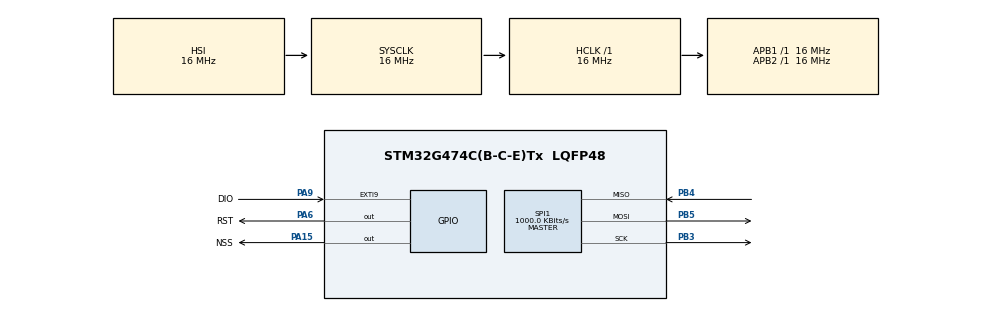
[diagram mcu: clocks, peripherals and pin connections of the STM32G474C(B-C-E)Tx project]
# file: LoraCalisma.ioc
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Mcu.Family=STM32G4
Mcu.Name=STM32G474C(B-C-E)Tx
Mcu.Package=LQFP48
NVIC.PriorityGroup=NVIC_PRIORITYGROUP_4
PA13.Mode=Serial_Wire
PA13.Signal=SYS_JTMS-SWDIO
PA14.Mode=Serial_Wire
PA14.Signal=SYS_JTCK-SWCLK
PA15.GPIO_Label=NSS
PA15.PinState=GPIO_PIN_SET
PA15.Signal=GPIO_Output
PA6.GPIO_Label=RST
PA6.PinState=GPIO_PIN_SET
PA6.Signal=GPIO_Output
PA9.GPIO_Label=DIO
PA9.Signal=GPXTI9
PB3.Mode=Full_Duplex_Master
PB3.Signal=SPI1_SCK
PB4.Mode=Full_Duplex_Master
PB4.Signal=SPI1_MISO
PB5.Mode=Full_Duplex_Master
PB5.Signal=SPI1_MOSI
PF0-OSC_IN.Mode=HSE-External-Oscillator
PF0-OSC_IN.Signal=RCC_OSC_IN
PF1-OSC_OUT.Mode=HSE-External-Oscillator
PF1-OSC_OUT.Signal=RCC_OSC_OUT
ProjectManager.HeapSize=0x200
ProjectManager.StackSize=0x400
ProjectManager.TargetToolchain=STM32CubeIDE
RCC.AHBFreq_Value=16000000
RCC.APB1Freq_Value=16000000
RCC.APB1TimFreq_Value=16000000
RCC.APB2Freq_Value=16000000
RCC.APB2TimFreq_Value=16000000
RCC.CortexFreq_Value=16000000
RCC.EXTERNAL_CLOCK_VALUE=12288000
RCC.HCLKFreq_Value=16000000
RCC.HSE_VALUE=8000000
RCC.HSI48_VALUE=48000000
RCC.HSI_VALUE=16000000
RCC.LSE_VALUE=32768
RCC.SYSCLKFreq_VALUE=16000000
RCC.USBFreq_Value=64000000
RCC.VCOOutputFreq_Value=128000000
SPI1.BaudRatePrescaler=SPI_BAUDRATEPRESCALER_16
SPI1.CalculateBaudRate=1000.0 KBits/s
SPI1.Direction=SPI_DIRECTION_2LINES
SPI1.Mode=SPI_MODE_MASTER
SPI1.VirtualType=VM_MASTER
VP_SYS_VS_DBSignals.Mode=DisableDeadBatterySignals
board=custom

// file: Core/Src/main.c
/* USER CODE BEGIN Header */
/**
  ******************************************************************************
  * @file           : main.c
  * @brief          : Main program body
  ******************************************************************************
  * @attention
  *
  * Copyright (c) 2025 STMicroelectronics.
  * All rights reserved.
  *
  * This software is licensed under terms that can be found in the LICENSE file
  * in the root directory of this software component.
  * If no LICENSE file comes with this software, it is provided AS-IS.
  *
  ******************************************************************************
  */
/* USER CODE END Header */
#include "main.h"
#include "spi.h"
#include "gpio.h"

/* USER CODE BEGIN Includes */

#include "LoRa.h"

/* USER CODE END Includes */

/* USER CODE BEGIN PV */
 LoRa myLoRa;
 uint16_t lora_stat=0;
 uint16_t RxBuffer[128];
 uint16_t Bxbuffer[128];

/* USER CODE END PV */

void SystemClock_Config(void);

int main(void)
{

  /* MCU Configuration--------------------------------------------------------*/

  /* Reset of all peripherals, Initializes the Flash interface and the Systick. */
  HAL_Init();

  /* Configure the system clock */
  SystemClock_Config();

  /* Initialize all configured peripherals */
  MX_GPIO_Init();
  MX_SPI1_Init();
  /* USER CODE BEGIN 2 */
  myLoRa = newLoRa();

  myLoRa.CS_port         = NSS_GPIO_Port;
  myLoRa.CS_pin          = NSS_Pin;
  myLoRa.reset_port      = RST_GPIO_Port;
  myLoRa.reset_pin       = RST_Pin;
  myLoRa.DIO0_port       = DIO_GPIO_Port;
  myLoRa.DIO0_pin        = DIO_Pin;
  myLoRa.hSPIx           = &hspi1;

  myLoRa.frequency             = 433.633;             // default = 433 MHz
  myLoRa.spredingFactor        = SF_7;            // default = SF_7
  myLoRa.bandWidth             = BW_500KHz;       // default = BW_125KHz
  myLoRa.crcRate               = CR_4_5;          // default = CR_4_5
  myLoRa.power                 = POWER_20db;      // default = 20db
  myLoRa.overCurrentProtection = 250;             // default = 100 mA
  myLoRa.preamble              = 8;              // default = 8;

if(LoRa_init(&myLoRa)==LORA_OK){
	lora_stat = 1;

}

LoRa_startReceiving(&myLoRa);
uint16_t txbuffer[3];
txbuffer[0]=45;
txbuffer[1]=0x12;
txbuffer[2]='G';

HAL_Delay(1000);

  /* USER CODE END 2 */

  /* Infinite loop */
  while (1)
  {

    /* USER CODE BEGIN 3 */

//	  LoRa_transmit(&myLoRa, txbuffer,3, 500);
	  LoRa_receive(&myLoRa, Bxbuffer, sizeof(Bxbuffer));
	  HAL_Delay(100);

  }
  /* USER CODE END 3 */
}

void SystemClock_Config(void)
{
  RCC_OscInitTypeDef RCC_OscInitStruct = {0};
  RCC_ClkInitTypeDef RCC_ClkInitStruct = {0};

  /** Configure the main internal regulator output voltage
  */
  HAL_PWREx_ControlVoltageScaling(PWR_REGULATOR_VOLTAGE_SCALE1);

  /** Initializes the RCC Oscillators according to the specified parameters
  * in the RCC_OscInitTypeDef structure.
  */
  RCC_OscInitStruct.OscillatorType = RCC_OSCILLATORTYPE_HSI;
  RCC_OscInitStruct.HSIState = RCC_HSI_ON;
  RCC_OscInitStruct.HSICalibrationValue = RCC_HSICALIBRATION_DEFAULT;
  RCC_OscInitStruct.PLL.PLLState = RCC_PLL_NONE;
  if (HAL_RCC_OscConfig(&RCC_OscInitStruct) != HAL_OK)
  {
    Error_Handler();
  }

  /** Initializes the CPU, AHB and APB buses clocks
  */
  RCC_ClkInitStruct.ClockType = RCC_CLOCKTYPE_HCLK|RCC_CLOCKTYPE_SYSCLK
                              |RCC_CLOCKTYPE_PCLK1|RCC_CLOCKTYPE_PCLK2;
  RCC_ClkInitStruct.SYSCLKSource = RCC_SYSCLKSOURCE_HSI;
  RCC_ClkInitStruct.AHBCLKDivider = RCC_SYSCLK_DIV1;
  RCC_ClkInitStruct.APB1CLKDivider = RCC_HCLK_DIV1;
  RCC_ClkInitStruct.APB2CLKDivider = RCC_HCLK_DIV1;

  if (HAL_RCC_ClockConfig(&RCC_ClkInitStruct, FLASH_LATENCY_0) != HAL_OK)
  {
    Error_Handler();
  }
}

/* USER CODE BEGIN 4 */

void HAL_GPIO_EXTI_Callback(uint16_t GPIO_Pin)
{

	if (GPIO_Pin==DIO_Pin){

		LoRa_receive(&myLoRa, RxBuffer, 128);
	}

}

/* USER CODE END 4 */

void Error_Handler(void)
{
  __disable_irq();
  while (1)
  {
  }
}
